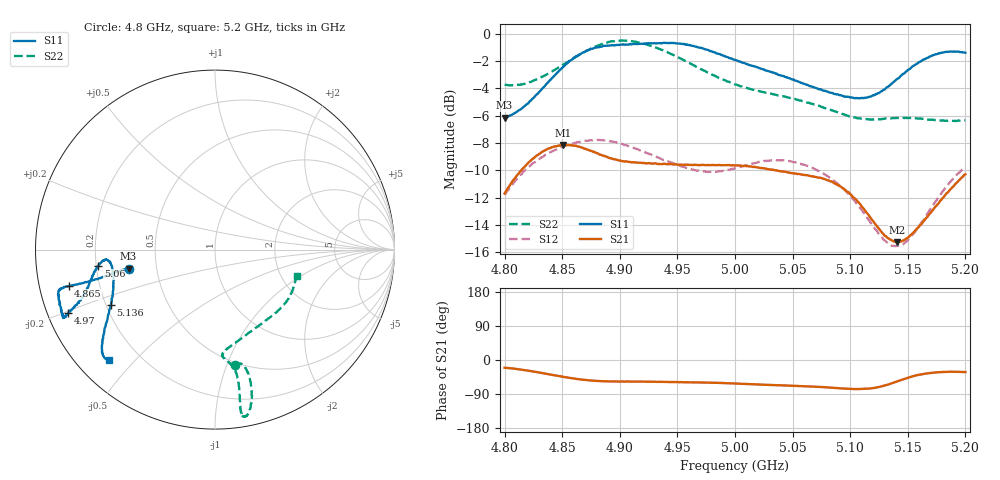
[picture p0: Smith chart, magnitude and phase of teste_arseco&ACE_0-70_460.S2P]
! Network Analyzer HP8722D
! Hewlett-Packard
! Data name: Linha & Wilkinson
! Saver's name: Rodrigo Anjos
! Comments: Teste da utilização de aquisição
! continua pelo VNA HP8722D
! Time and date: 8/5/2025 16:35
!  Frequency  S11  S21  S12  S22
# HZ  S  MA R 50
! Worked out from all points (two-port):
!   401 points, 4.8 GHz to 5.2 GHz, reference 50 ohm
!   highest |S21| = -8.14 dB at 4.851 GHz (marker M1); lowest = -15.3 dB at 5.141 GHz (marker M2)
!   |S21| within 3 dB of the highest: 4.804 GHz to 5.091 GHz (286.3 MHz wide, 5.79 % of centre); 5.190106 GHz to end of sweep
!   lowest |S11| = -6.1 dB at 4.8 GHz (marker M3), VSWR 2.95, Z = 17.1 - j4.82 ohm
!   |S11| at or under -10 dB: nowhere
!   |S22| runs from -6.4 to -0.5 dB; largest |S21 - S12| = 0.62
!   S11 on the Smith chart (normalised r, x): 4.8 GHz: 0.34, -0.10; 4.865 GHz: 0.09, -0.12; 4.97 GHz: 0.06, -0.21; 5.06 GHz: 0.21, -0.07; 5.136 GHz: 0.22, -0.24; 5.2 GHz: 0.09, -0.42
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4.8e9  0.4933 -167.5  0.2601 -20.5  0.2566 -141.7  0.6511 -80.2
4.826e9  0.588 -166.8  0.3528 -30.9  0.3378 -145.6  0.6766 -75.7
4.851e9  0.7581 -165.8  0.3919 -44.5  0.3864 -150.3  0.7721 -75.0
4.865e9  0.8409 -166.0  0.3854 -50.9  0.4018 -152.5  0.8385 -75.8
4.867e9  0.8491 -166.0  0.3834 -51.7  0.4034 -152.7  0.8484 -76.0
4.881e9  0.8958 -165.5  0.3647 -55.3  0.4086 -155.0  0.9056 -77.4
4.9e9  0.9127 -162.7  0.3436 -56.7  0.3962 -156.9  0.9434 -79.7
4.934e9  0.9249 -156.5  0.3336 -57.8  0.3515 -155.9  0.8803 -80.9
4.97e9  0.8891 -156.7  0.331 -59.4  0.3145 -147.2  0.7433 -80.0
5e9  0.8029 -159.3  0.3293 -62.2  0.322 -137.5  0.6524 -81.7
5.038e9  0.7067 -166.6  0.3147 -66.6  0.3446 -135.1  0.5955 -86.0
5.06e9  0.6559 -172.0  0.304 -69.0  0.3309 -136.9  0.5649 -84.3
5.067e9  0.6399 -173.4  0.3003 -70.0  0.3229 -137.5  0.5544 -82.6
5.083e9  0.6083 -174.6  0.2879 -72.9  0.2957 -139.0  0.5265 -76.5
5.101e9  0.5852 -171.5  0.2565 -76.3  0.2517 -139.2  0.4973 -65.9
5.116e9  0.5867 -164.5  0.2168 -75.8  0.2082 -135.2  0.4862 -55.1
5.134e9  0.6453 -153.3  0.1772 -63.6  0.1698 -119.2  0.4901 -42.9
5.136e9  0.657 -152.1  0.1752 -61.6  0.1674 -116.5  0.4901 -41.6
5.141e9  0.6848 -149.5  0.1724 -56.1  0.167 -109.9  0.4921 -38.7
5.154e9  0.7599 -144.1  0.1856 -43.2  0.1834 -93.9  0.4906 -32.1
5.173e9  0.8375 -138.8  0.2301 -33.2  0.2394 -80.8  0.4833 -24.2
5.2e9  0.8527 -133.8  0.3058 -31.8  0.3249 -77.4  0.482 -17.7
